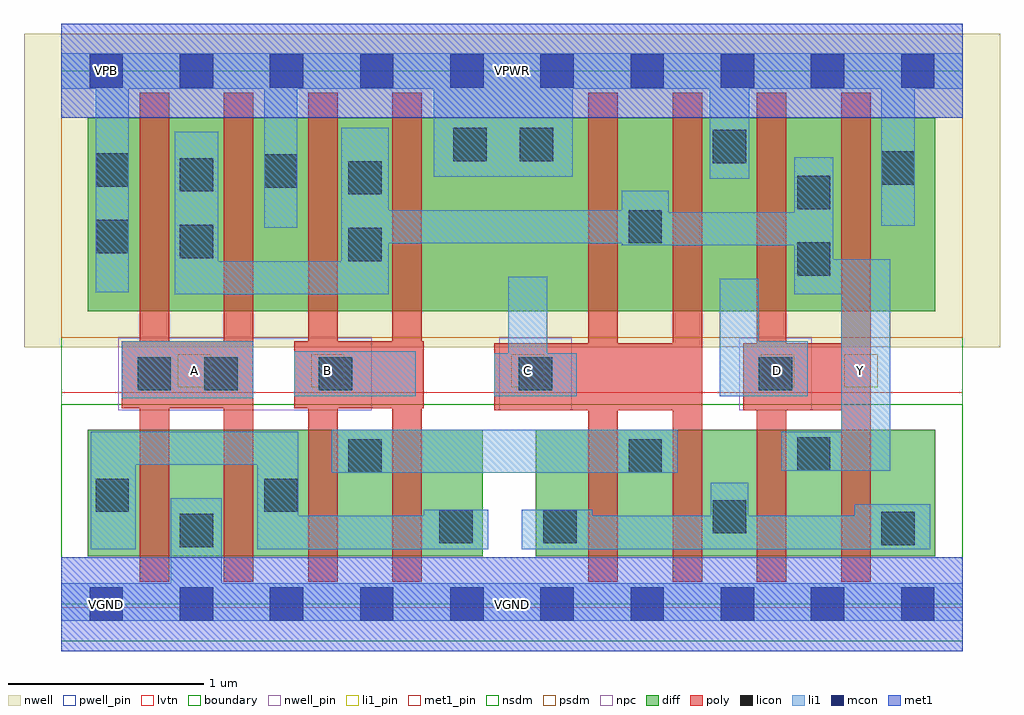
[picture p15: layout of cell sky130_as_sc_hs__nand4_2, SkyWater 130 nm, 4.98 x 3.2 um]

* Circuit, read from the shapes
.subckt sky130_as_sc_hs__nand4_2 A B C D VGND VNB VPB VPWR Y
XM1 VGND A n1 VNB sky130_fd_pr__nfet_01v8_lvt w=0.645 l=0.15 m=2
XM2 n2 B n1 VNB sky130_fd_pr__nfet_01v8_lvt w=0.645 l=0.15 m=2
XM3 n2 C n3 VNB sky130_fd_pr__nfet_01v8_lvt w=0.645 l=0.15 m=2
XM4 Y D n3 VNB sky130_fd_pr__nfet_01v8_lvt w=0.645 l=0.15 m=2
XM5 Y A VPWR VPB sky130_fd_pr__pfet_01v8 w=0.985 l=0.15 m=2
XM6 Y B VPWR VPB sky130_fd_pr__pfet_01v8 w=0.985 l=0.15 m=2
XM7 Y C VPWR VPB sky130_fd_pr__pfet_01v8 w=0.985 l=0.15 m=2
XM8 Y D VPWR VPB sky130_fd_pr__pfet_01v8 w=0.985 l=0.15 m=2
.ends

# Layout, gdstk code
import gdstk
lib = gdstk.Library(unit=1e-6, precision=1e-09)
def R(c, l, rs):  # rectangles x0, y0, x1, y1
    for r in rs: c.add(gdstk.rectangle(r[:2], r[2:], *l))
def A(c, l, x, y, w, h, nx, ny, dx, dy):  # array of equal rectangles
    R(c, l, [(x+i*dx, y+j*dy, x+i*dx+w, y+j*dy+h) for i in range(nx) for j in range(ny)])
nwell_pin = (64, 16)
nwell = (64, 20)
diff = (65, 20)
poly = (66, 20)
licon = (66, 44)
li1_pin = (67, 16)
li1 = (67, 20)
mcon = (67, 44)
met1_pin = (68, 16)
met1 = (68, 20)
nsdm = (93, 44)
psdm = (94, 20)
npc = (95, 20)
pwell_pin = (122, 16)
lvtn = (125, 44)
boundary = (235, 4)

sky130_as_sc_hs__nand4_2 = lib.new_cell('sky130_as_sc_hs__nand4_2')
R(sky130_as_sc_hs__nand4_2, nwell_pin, [(0.145,2.635,0.315,2.805)])
R(sky130_as_sc_hs__nand4_2, nwell, [(-0.19,1.31,4.79,2.91)])
R(sky130_as_sc_hs__nand4_2, diff, [(0.135,0.245,2.15,0.89), (2.42,0.245,4.46,0.89), (0.135,1.495,4.46,2.48)])
A(sky130_as_sc_hs__nand4_2, poly, 0.4, 0.115, 0.15, 0.885, 4, 1, 0.43, 0)
A(sky130_as_sc_hs__nand4_2, poly, 2.69, 0.115, 0.15, 0.875, 4, 1, 0.43, 0)
A(sky130_as_sc_hs__nand4_2, poly, 2.69, 1.33, 0.15, 1.28, 4, 1, 0.43, 0)
A(sky130_as_sc_hs__nand4_2, poly, 0.4, 1.34, 0.15, 1.27, 4, 1, 0.43, 0)
R(sky130_as_sc_hs__nand4_2, poly, [(2.21,0.99,3.27,1.33), (3.48,0.99,4.13,1.33), (0.31,1,0.98,1.34), (1.19,1,1.85,1.34)])
R(sky130_as_sc_hs__nand4_2, licon, [(0.605,0.29,0.775,0.46), (4.185,0.3,4.355,0.47), (1.93,0.31,2.1,0.48), (2.46,0.31,2.63,0.48), (3.325,0.36,3.495,0.53), (0.175,0.47,0.345,0.64), (1.035,0.47,1.205,0.64), (1.465,0.67,1.635,0.84), (2.895,0.67,3.065,0.84), (3.755,0.68,3.925,0.85), (0.39,1.09,0.56,1.26), (0.73,1.09,0.9,1.26), (1.315,1.09,1.485,1.26), (2.335,1.09,2.505,1.26), (3.56,1.09,3.73,1.26), (3.755,1.675,3.925,1.845), (1.465,1.75,1.635,1.92), (0.605,1.765,0.775,1.935), (0.175,1.79,0.345,1.96), (2.895,1.84,3.065,2.01), (3.755,2.015,3.925,2.185), (1.465,2.09,1.635,2.26), (0.605,2.105,0.775,2.275), (1.035,2.125,1.205,2.295), (0.175,2.13,0.345,2.3), (4.185,2.14,4.355,2.31), (3.325,2.25,3.495,2.42), (2,2.26,2.17,2.43), (2.34,2.26,2.51,2.43)])
R(sky130_as_sc_hs__nand4_2, li1_pin, [(0.595,1.105,0.765,1.275), (1.275,1.105,1.445,1.275), (2.295,1.105,2.465,1.275), (3.57,1.105,3.74,1.275), (3.995,1.105,4.165,1.275)])
R(sky130_as_sc_hs__nand4_2, li1, [(0,-0.085,4.6,0.105), (0.56,0.105,0.82,0.54), (0.15,0.28,0.38,0.71), (1,0.28,2.18,0.45), (2.35,0.28,4.435,0.45), (1,0.45,1.21,0.71), (1.85,0.45,2.18,0.48), (2.35,0.45,2.71,0.48), (3.315,0.45,3.505,0.62), (4.05,0.45,4.435,0.51), (1.38,0.67,3.145,0.89), (3.675,0.68,4.23,0.88), (0.15,0.71,1.21,0.88), (3.98,0.88,4.23,1.58), (0.31,1.05,0.98,1.34), (1.19,1.06,1.81,1.29), (2.21,1.06,2.63,1.28), (3.36,1.06,3.81,1.34), (2.28,1.28,2.48,1.67), (3.36,1.34,3.56,1.66), (0.58,1.58,1.67,1.75), (3.74,1.58,4.23,1.76), (0.175,1.59,0.345,2.63), (0.58,1.75,0.8,2.41), (1.43,1.75,1.67,1.84), (3.74,1.76,3.94,1.83), (2.86,1.83,3.94,1.84), (1.43,1.84,3.94,2), (1.035,1.92,1.205,2.63), (4.185,1.93,4.355,2.63), (1.43,2,3.1,2.01), (3.74,2,3.94,2.28), (1.43,2.01,1.67,2.43), (2.86,2.01,3.1,2.11), (3.31,2.17,3.51,2.63), (1.9,2.18,2.61,2.63), (0,2.63,4.6,2.81)])
A(sky130_as_sc_hs__nand4_2, mcon, 0.145, -0.085, 0.17, 0.17, 10, 2, 0.46, 2.72)
R(sky130_as_sc_hs__nand4_2, met1_pin, [(0,-0.24,4.6,0.24), (0.145,-0.085,0.315,0.085), (0,2.48,4.6,2.96), (0.145,2.635,0.315,2.805)])
R(sky130_as_sc_hs__nand4_2, met1, [(0,-0.24,4.6,0.24), (0,2.48,4.6,2.96)])
R(sky130_as_sc_hs__nand4_2, nsdm, [(0,-0.19,4.6,1.02)])
R(sky130_as_sc_hs__nand4_2, psdm, [(0,1.36,4.6,2.91)])
R(sky130_as_sc_hs__nand4_2, npc, [(0.29,0.99,1.585,1.36), (2.235,0.99,2.605,1.36), (3.46,0.99,3.83,1.36)])
R(sky130_as_sc_hs__nand4_2, pwell_pin, [(0.145,-0.085,0.315,0.085)])
R(sky130_as_sc_hs__nand4_2, lvtn, [(0,-0.02,4.6,1.08)])
R(sky130_as_sc_hs__nand4_2, boundary, [(0,0,4.6,2.72)])
sky130_as_sc_hs__nand4_2.add(gdstk.Label('VPB', (0.23,2.72), layer=64, texttype=5))
sky130_as_sc_hs__nand4_2.add(gdstk.Label('VPB', (0.23,2.72), layer=64, texttype=5))
sky130_as_sc_hs__nand4_2.add(gdstk.Label('VGND', (0.23,0), layer=68, texttype=5))
sky130_as_sc_hs__nand4_2.add(gdstk.Label('VGND', (2.3,0), layer=68, texttype=5))
sky130_as_sc_hs__nand4_2.add(gdstk.Label('VPWR', (0.23,2.72), layer=68, texttype=5))
sky130_as_sc_hs__nand4_2.add(gdstk.Label('VPWR', (2.3,2.72), layer=68, texttype=5))
sky130_as_sc_hs__nand4_2.add(gdstk.Label('VNB', (0.23,0), layer=64, texttype=59))
sky130_as_sc_hs__nand4_2.add(gdstk.Label('VNB', (0.23,0), layer=64, texttype=59))
sky130_as_sc_hs__nand4_2.add(gdstk.Label('D', (3.655,1.19), layer=67, texttype=5))
sky130_as_sc_hs__nand4_2.add(gdstk.Label('D', (3.655,1.19), layer=67, texttype=5))
sky130_as_sc_hs__nand4_2.add(gdstk.Label('C', (2.38,1.19), layer=67, texttype=5))
sky130_as_sc_hs__nand4_2.add(gdstk.Label('C', (2.38,1.19), layer=67, texttype=5))
sky130_as_sc_hs__nand4_2.add(gdstk.Label('Y', (4.08,1.19), layer=67, texttype=5))
sky130_as_sc_hs__nand4_2.add(gdstk.Label('Y', (4.08,1.19), layer=67, texttype=5))
sky130_as_sc_hs__nand4_2.add(gdstk.Label('B', (1.36,1.19), layer=67, texttype=5))
sky130_as_sc_hs__nand4_2.add(gdstk.Label('B', (1.36,1.19), layer=67, texttype=5))
sky130_as_sc_hs__nand4_2.add(gdstk.Label('A', (0.68,1.19), layer=67, texttype=5))
sky130_as_sc_hs__nand4_2.add(gdstk.Label('A', (0.68,1.19), layer=67, texttype=5))

lib.write_gds('sky130_as_sc_hs__nand4_2.gds')
